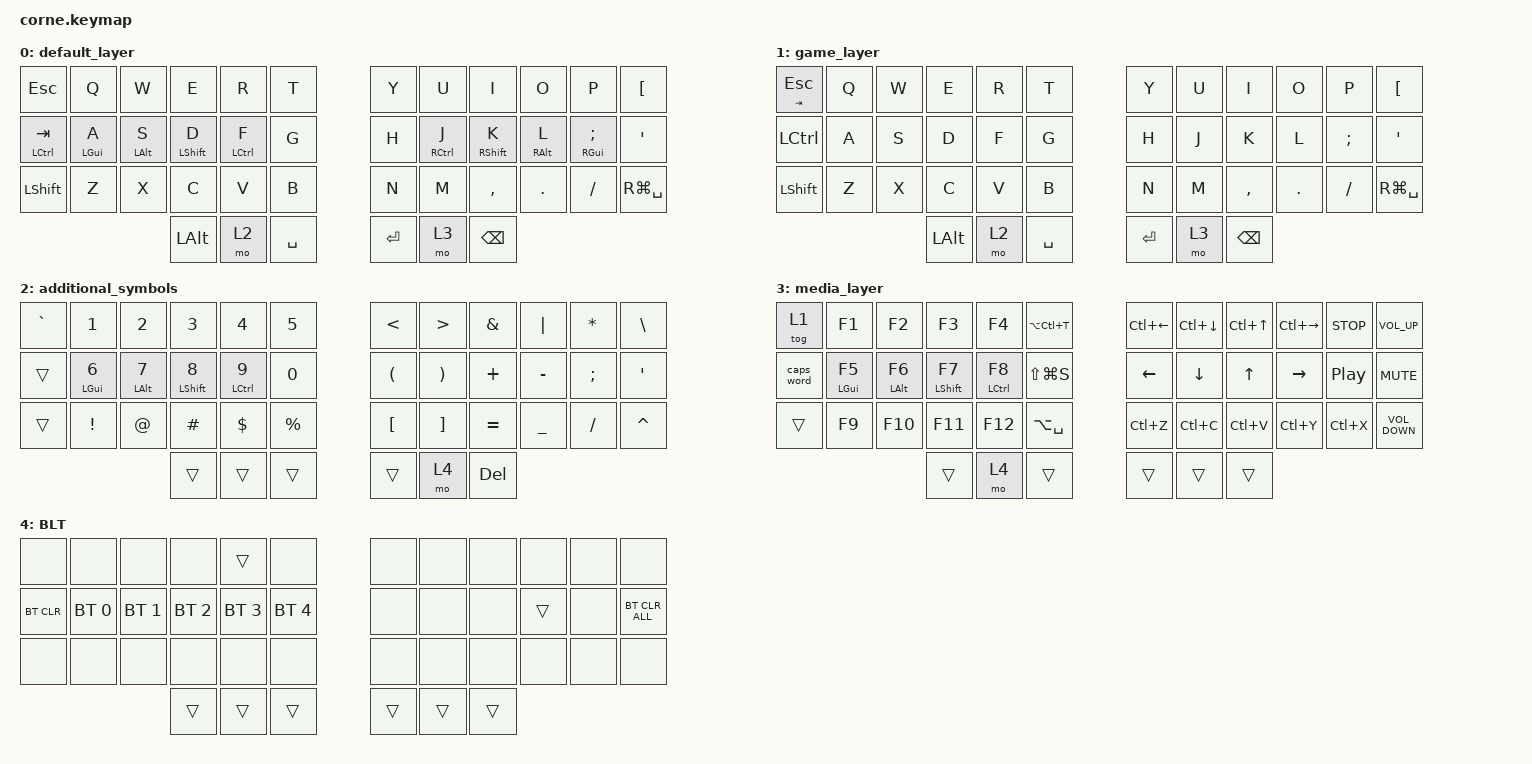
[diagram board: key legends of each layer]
/*
 * Copyright (c) 2020 The ZMK Contributors
 *
 * SPDX-License-Identifier: MIT
 */

#include <behaviors.dtsi>
#include <dt-bindings/zmk/bt.h>
#include <dt-bindings/zmk/keys.h>

/ {
    combos { compatible = "zmk,combos"; };

    behaviors {
        ss_hs_modmorph: ss_hs_modmorph {
            compatible = "zmk,behavior-mod-morph";
            label = "SS_HS_MODMORPH";
            bindings = <&kp M>, <&kp RIGHT_BRACKET>;

            #binding-cells = <0>;
            mods = <(MOD_LSFT|MOD_RSFT)>;
        };

        kh_hs_tapdance: kh_hs_tapdance {
            compatible = "zmk,behavior-tap-dance";
            label = "KH_HS_TAPDANCE";
            #binding-cells = <0>;
            tapping-term-ms = <200>;
            bindings = <&kp LEFT_BRACKET>, <&kp RIGHT_BRACKET>;
        };

        hrm: hrm {
            compatible = "zmk,behavior-hold-tap";
            #binding-cells = <2>;
            flavor = "tap-preferred";
            tapping-term-ms = <200>;
            quick-tap-ms = <200>;
            require-prior-idle-ms = <125>;
            bindings = <&kp>, <&kp>;
        };
    };

    keymap {
        compatible = "zmk,keymap";

        default_layer {
            // -----------------------------------------------------------------------------------------
            // |  TAB |  Q  |  W  |  E  |  R  |  T  |   |  Y  |  U   |  I  |  O  |  P  | BKSP |
            // | CTRL |  A  |  S  |  D  |  F  |  G  |   |  H  |  J   |  K  |  L  |  ;  |  '   |
            // | SHFT |  Z  |  X  |  C  |  V  |  B  |   |  N  |  M   |  ,  |  .  |  /  | ESC  |
            //                    | GUI | LWR | SPC |   | ENT | RSE  | ALT |

            bindings = <
&kp ESCAPE     &kp Q            &kp W            &kp E              &kp R         &kp T        &kp Y      &kp U         &kp I          &kp O        &kp P                &kp LEFT_BRACKET
&mt LCTRL TAB  &hrm LEFT_GUI A  &hrm LEFT_ALT S  &hrm LEFT_SHIFT D  &hrm LCTRL F  &kp G        &kp H      &hrm RCTRL J  &hrm RSHFT K   &hrm RALT L  &hrm RGUI SEMICOLON  &kp SQT
&kp LSHFT      &kp Z            &kp X            &kp C              &kp V         &kp B        &kp N      &kp M         &kp COMMA      &kp DOT      &kp FSLH             &kp RG(SPACE)
                                                 &kp LALT           &mo 2         &kp SPACE    &kp ENTER  &mo 3         &kp BACKSPACE
            >;
        };

        game_layer {
            bindings = <
&mt TAB ESCAPE  &kp Q  &kp W  &kp E     &kp R  &kp T        &kp Y      &kp U  &kp I          &kp O    &kp P     &kp LEFT_BRACKET
&kp LCTRL       &kp A  &kp S  &kp D     &kp F  &kp G        &kp H      &kp J  &kp K          &kp L    &kp SEMI  &kp SQT
&kp LSHFT       &kp Z  &kp X  &kp C     &kp V  &kp B        &kp N      &kp M  &kp COMMA      &kp DOT  &kp FSLH  &kp RG(SPACE)
                              &kp LALT  &mo 2  &kp SPACE    &kp ENTER  &mo 3  &kp BACKSPACE
            >;
        };

        additional_symbols {
            // -----------------------------------------------------------------------------------------
            // |  TAB |  1  |  2  |  3  |  4  |  5  |   |  6  |  7  |  8  |  9  |  0  | BKSP |
            // | BTCLR| BT1 | BT2 | BT3 | BT4 | BT5 |   | LFT | DWN |  UP | RGT |     |      |
            // | SHFT |     |     |     |     |     |   |     |     |     |     |     |      |
            //                    | GUI |     | SPC |   | ENT |     | ALT |

            bindings = <
&kp GRAVE  &kp N1             &kp N2       &kp N3        &kp N4        &kp N5          &kp LESS_THAN         &kp GT                 &kp AMPS    &kp PIPE   &kp STAR       &kp BACKSLASH
&trans     &mt LGUI NUMBER_6  &mt LALT N7  &mt LSHFT N8  &mt LCTRL N9  &kp NUMBER_0    &kp LEFT_PARENTHESIS  &kp RIGHT_PARENTHESIS  &kp PLUS    &kp MINUS  &kp SEMICOLON  &kp SINGLE_QUOTE
&trans     &kp EXCLAMATION    &kp AT_SIGN  &kp HASH      &kp DOLLAR    &kp PERCENT     &kp LEFT_BRACKET      &kp RIGHT_BRACKET      &kp EQUAL   &kp UNDER  &kp SLASH      &kp CARET
                                           &trans        &trans        &trans          &trans                &mo 4                  &kp DELETE
            >;
        };

        media_layer {
            // -----------------------------------------------------------------------------------------
            // |  TAB |  !  |  @  |  #  |  $  |  %  |   |  ^  |  &  |  *  |  (  |  )  | BKSP |
            // | CTRL |     |     |     |     |     |   |  -  |  =  |  [  |  ]  |  \  |  `   |
            // | SHFT |     |     |     |     |     |   |  _  |  +  |  {  |  }  | "|" |  ~   |
            //                    | GUI |     | SPC |   | ENT |     | ALT |

            bindings = <
&tog 1      &kp F1       &kp F2       &kp F3        &kp F4        &kp LA(LC(T))    &kp LC(LEFT)  &kp LC(DOWN)  &kp LC(UP)  &kp LC(RIGHT)  &kp C_STOP        &kp C_VOLUME_UP
&caps_word  &mt LGUI F5  &mt LALT F6  &mt LSHFT F7  &mt LCTRL F8  &kp LS(LG(S))    &kp LEFT      &kp DOWN      &kp UP      &kp RIGHT      &kp C_PLAY_PAUSE  &kp K_MUTE
&trans      &kp F9       &kp F10      &kp F11       &kp F12       &kp LA(SPACE)    &kp LC(Z)     &kp LC(C)     &kp LC(V)   &kp LC(Y)      &kp LC(X)         &kp C_VOLUME_DOWN
                                      &trans        &mo 4         &trans           &trans        &trans        &trans
            >;
        };

        BLT {
            bindings = <
&none       &none         &none         &none         &trans        &none           &none   &none   &none   &none   &none  &none
&bt BT_CLR  &bt BT_SEL 0  &bt BT_SEL 1  &bt BT_SEL 2  &bt BT_SEL 3  &bt BT_SEL 4    &none   &none   &none   &trans  &none  &bt BT_CLR_ALL
&none       &none         &none         &none         &none         &none           &none   &none   &none   &none   &none  &none
                                        &trans        &trans        &trans          &trans  &trans  &trans
            >;
        };
    };
};
